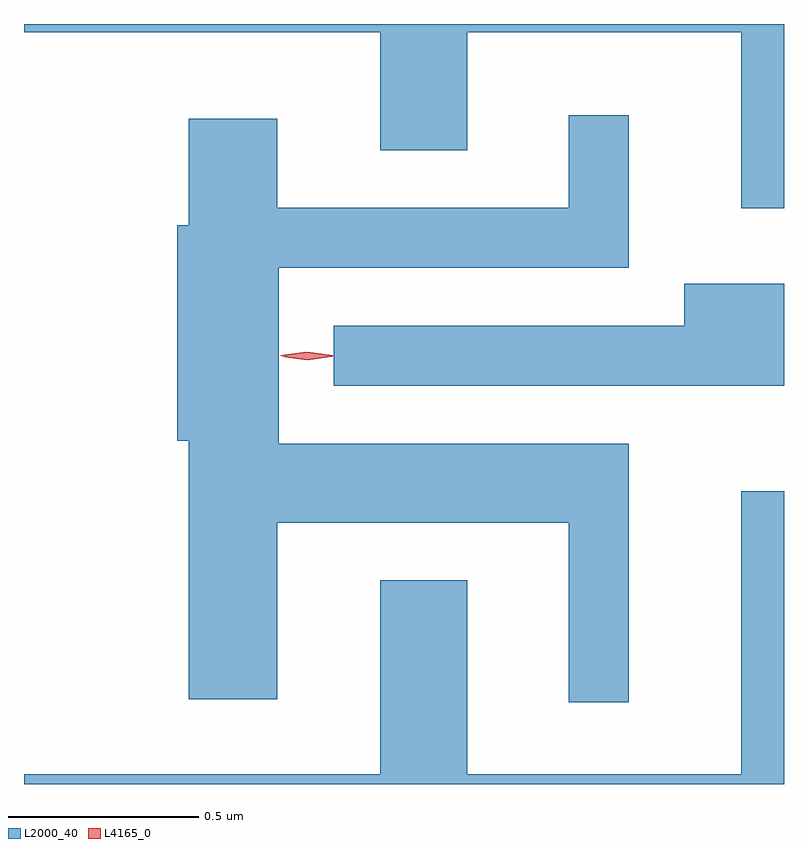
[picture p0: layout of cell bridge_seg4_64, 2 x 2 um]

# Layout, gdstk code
import gdstk
lib = gdstk.Library(unit=1e-6, precision=1e-09)
def P(c, l, *ps):  # polygons
    for p in ps: c.add(gdstk.Polygon(p, *l))
L2000_40 = (2000, 40)
L4165_0 = (4165, 0)

bridge_seg4_64 = lib.new_cell('bridge_seg4_64')
P(bridge_seg4_64, L2000_40, [(1574.023,1259.238),(1572.023,1259.238),(1572.023,1259.216),(1572.961,1259.216),(1572.961,1258.906),(1573.189,1258.906),(1573.189,1259.216),(1573.911,1259.216),(1573.911,1258.753),(1574.023,1258.753)],
  [(1573.614,1258.134),(1572.694,1258.134),(1572.694,1258.596),(1573.614,1258.596),(1573.614,1258.998),(1573.456,1258.998),(1573.456,1258.754),(1572.689,1258.754),(1572.689,1258.989),(1572.456,1258.989),(1572.456,1258.709),(1572.426,1258.709),(1572.426,1258.141),(1572.456,1258.141),(1572.456,1257.461),(1572.689,1257.461),(1572.689,1257.926),(1573.456,1257.926),(1573.456,1257.453),(1573.614,1257.453)],
  [(1574.023,1258.554),(1573.761,1258.554),(1573.761,1258.444),(1572.838,1258.444),(1572.838,1258.286),(1574.023,1258.286)],
  [(1574.023,1258.008),(1573.911,1258.008),(1573.911,1257.264),(1573.189,1257.264),(1573.189,1257.774),(1572.961,1257.774),(1572.961,1257.264),(1572.023,1257.264),(1572.023,1257.238),(1574.023,1257.238)])
P(bridge_seg4_64, L4165_0, [(1572.767,1258.355),(1572.698,1258.365),(1572.698,1258.366),(1572.698,1258.366),(1572.767,1258.375),(1572.836,1258.366),(1572.836,1258.365),(1572.836,1258.364)],
  [(1572.768,1258.353),(1572.703,1258.362),(1572.703,1258.363),(1572.703,1258.363),(1572.768,1258.373),(1572.832,1258.363),(1572.833,1258.363),(1572.832,1258.362)])

lib.write_gds('bridge_seg4_64.gds')
